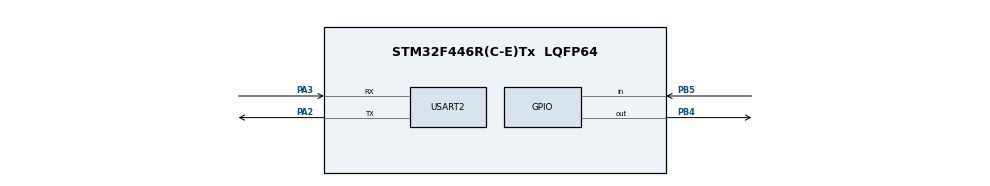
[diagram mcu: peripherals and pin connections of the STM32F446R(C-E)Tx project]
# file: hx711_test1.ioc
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Mcu.Family=STM32F4
Mcu.Name=STM32F446R(C-E)Tx
Mcu.Package=LQFP64
NVIC.PriorityGroup=NVIC_PRIORITYGROUP_4
PA2.Mode=Asynchronous
PA2.Signal=USART2_TX
PA3.Mode=Asynchronous
PA3.Signal=USART2_RX
PB4.Signal=GPIO_Output
PB5.Signal=GPIO_Input
ProjectManager.HeapSize=0x200
ProjectManager.StackSize=0x400
ProjectManager.TargetToolchain=STM32CubeIDE
RCC.CortexFreq_Value=16000000
RCC.USBFreq_Value=96000000
RCC.VCOOutputFreq_Value=192000000
USART2.VirtualMode=VM_ASYNC
board=custom

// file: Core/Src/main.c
/* USER CODE BEGIN Header */
/**
  ******************************************************************************
  * @file           : main.c
  * @brief          : Main program body
  ******************************************************************************
  * @attention
  *
  * Copyright (c) 2025 STMicroelectronics.
  * All rights reserved.
  *
  * This software is licensed under terms that can be found in the LICENSE file
  * in the root directory of this software component.
  * If no LICENSE file comes with this software, it is provided AS-IS.
  *
  ******************************************************************************
  */
/* USER CODE END Header */
#include "main.h"

/* USER CODE BEGIN PD */

#define HX711_DT_Pin        GPIO_PIN_5
#define HX711_DT_GPIO_Port  GPIOB

#define HX711_SCK_Pin       GPIO_PIN_4
#define HX711_SCK_GPIO_Port GPIOB

/* USER CODE END PD */

UART_HandleTypeDef huart2;

/* USER CODE BEGIN PV */

int32_t weight_raw;
int count_num = 0;
int64_t weight_sum = 0;
//int32_t average_weight = 0;

int32_t tare = 8399803;
float know_kg = 1;
float know_hx711 = 1;

int32_t tare_weight_raw = 0;
float alpha = 0.9;
float estimated_weight = 0;

char msg[64];
/* USER CODE END PV */

void SystemClock_Config(void);
static void MX_GPIO_Init(void);
static void MX_USART2_UART_Init(void);

/* USER CODE BEGIN 0 */

void HX711_delay_us(uint32_t us)
{
    // 需要微秒級延遲，可以用 Timer 或簡單迴圈微調
    for (volatile uint32_t i = 0; i < us * 8; i++);
}

int32_t HX711_Read(void)
{
    int32_t count = 0;
    uint8_t i;

    // 等待 DOUT 變低，表示資料可讀
    while(HAL_GPIO_ReadPin(HX711_DT_GPIO_Port, HX711_DT_Pin));

    for (i = 0; i < 24; i++)
    {
        HAL_GPIO_WritePin(HX711_SCK_GPIO_Port, HX711_SCK_Pin, GPIO_PIN_SET);
        HX711_delay_us(1);

        count = count << 1;
        if (HAL_GPIO_ReadPin(HX711_DT_GPIO_Port, HX711_DT_Pin))
            count++;

        HAL_GPIO_WritePin(HX711_SCK_GPIO_Port, HX711_SCK_Pin, GPIO_PIN_RESET);
        HX711_delay_us(1);
    }

    // 第25個時脈：設定增益 (這裡預設 128)
    HAL_GPIO_WritePin(HX711_SCK_GPIO_Port, HX711_SCK_Pin, GPIO_PIN_SET);
    HX711_delay_us(1);
    HAL_GPIO_WritePin(HX711_SCK_GPIO_Port, HX711_SCK_Pin, GPIO_PIN_RESET);
    HX711_delay_us(1);

    // 轉成補數
    count ^= 0x800000;
    return count;
}

/* USER CODE END 0 */

int main(void)
{

  /* MCU Configuration--------------------------------------------------------*/

  /* Reset of all peripherals, Initializes the Flash interface and the Systick. */
  HAL_Init();

  /* Configure the system clock */
  SystemClock_Config();

  /* USER CODE BEGIN SysInit */

  float coefficient = know_kg / know_hx711;

  /* USER CODE END SysInit */

  /* Initialize all configured peripherals */
  MX_GPIO_Init();
  MX_USART2_UART_Init();

  /* Infinite loop */
  while (1)
  {

    /* USER CODE BEGIN 3 */

	weight_raw = HX711_Read();
//	tare_weight_raw = weight_raw - tare;
//	if (count_num < 50){
//		weight_sum = weight_sum + weight_raw;
//		count_num++;
//	}
//	else{
//
//		average_weight = weight_sum / count_num;
//		count_num = 0;
//		weight_sum = 0;
//		int len = sprintf(msg, "value: %d\r\n", average_weight);
//		HAL_UART_Transmit(&huart2, (uint8_t*)msg, len, HAL_MAX_DELAY);
//	}
	if (count_num < 500) {
		weight_sum = weight_sum + weight_raw;
		count_num++;
	}
	else if (count_num == 500) {
		tare = weight_sum / count_num;
		count_num++;
	}
	else {
		float new_weight = (weight_raw - tare) * coefficient;
		estimated_weight = alpha * estimated_weight + (1-alpha) * new_weight;
		int len = sprintf(msg, "%.6f,%.6f\r\n", estimated_weight, new_weight);
		HAL_UART_Transmit(&huart2, (uint8_t*)msg, len, HAL_MAX_DELAY);
	}

	HAL_Delay(50);
  }
  /* USER CODE END 3 */
}

void SystemClock_Config(void)
{
  RCC_OscInitTypeDef RCC_OscInitStruct = {0};
  RCC_ClkInitTypeDef RCC_ClkInitStruct = {0};

  /** Configure the main internal regulator output voltage
  */
  __HAL_RCC_PWR_CLK_ENABLE();
  __HAL_PWR_VOLTAGESCALING_CONFIG(PWR_REGULATOR_VOLTAGE_SCALE3);

  /** Initializes the RCC Oscillators according to the specified parameters
  * in the RCC_OscInitTypeDef structure.
  */
  RCC_OscInitStruct.OscillatorType = RCC_OSCILLATORTYPE_HSI;
  RCC_OscInitStruct.HSIState = RCC_HSI_ON;
  RCC_OscInitStruct.HSICalibrationValue = RCC_HSICALIBRATION_DEFAULT;
  RCC_OscInitStruct.PLL.PLLState = RCC_PLL_NONE;
  if (HAL_RCC_OscConfig(&RCC_OscInitStruct) != HAL_OK)
  {
    Error_Handler();
  }

  /** Initializes the CPU, AHB and APB buses clocks
  */
  RCC_ClkInitStruct.ClockType = RCC_CLOCKTYPE_HCLK|RCC_CLOCKTYPE_SYSCLK
                              |RCC_CLOCKTYPE_PCLK1|RCC_CLOCKTYPE_PCLK2;
  RCC_ClkInitStruct.SYSCLKSource = RCC_SYSCLKSOURCE_HSI;
  RCC_ClkInitStruct.AHBCLKDivider = RCC_SYSCLK_DIV1;
  RCC_ClkInitStruct.APB1CLKDivider = RCC_HCLK_DIV1;
  RCC_ClkInitStruct.APB2CLKDivider = RCC_HCLK_DIV1;

  if (HAL_RCC_ClockConfig(&RCC_ClkInitStruct, FLASH_LATENCY_0) != HAL_OK)
  {
    Error_Handler();
  }
}

static void MX_USART2_UART_Init(void)
{

  huart2.Instance = USART2;
  huart2.Init.BaudRate = 115200;
  huart2.Init.WordLength = UART_WORDLENGTH_8B;
  huart2.Init.StopBits = UART_STOPBITS_1;
  huart2.Init.Parity = UART_PARITY_NONE;
  huart2.Init.Mode = UART_MODE_TX_RX;
  huart2.Init.HwFlowCtl = UART_HWCONTROL_NONE;
  huart2.Init.OverSampling = UART_OVERSAMPLING_16;
  if (HAL_UART_Init(&huart2) != HAL_OK)
  {
    Error_Handler();
  }

}

static void MX_GPIO_Init(void)
{
  GPIO_InitTypeDef GPIO_InitStruct = {0};

  /* GPIO Ports Clock Enable */
  __HAL_RCC_GPIOA_CLK_ENABLE();
  __HAL_RCC_GPIOB_CLK_ENABLE();

  /*Configure GPIO pin Output Level */
  HAL_GPIO_WritePin(GPIOB, GPIO_PIN_4, GPIO_PIN_RESET);

  /*Configure GPIO pin : PB4 */
  GPIO_InitStruct.Pin = GPIO_PIN_4;
  GPIO_InitStruct.Mode = GPIO_MODE_OUTPUT_PP;
  GPIO_InitStruct.Pull = GPIO_NOPULL;
  GPIO_InitStruct.Speed = GPIO_SPEED_FREQ_LOW;
  HAL_GPIO_Init(GPIOB, &GPIO_InitStruct);

  /*Configure GPIO pin : PB5 */
  GPIO_InitStruct.Pin = GPIO_PIN_5;
  GPIO_InitStruct.Mode = GPIO_MODE_INPUT;
  GPIO_InitStruct.Pull = GPIO_NOPULL;
  HAL_GPIO_Init(GPIOB, &GPIO_InitStruct);

}

void Error_Handler(void)
{
  __disable_irq();
  while (1)
  {
  }
}
